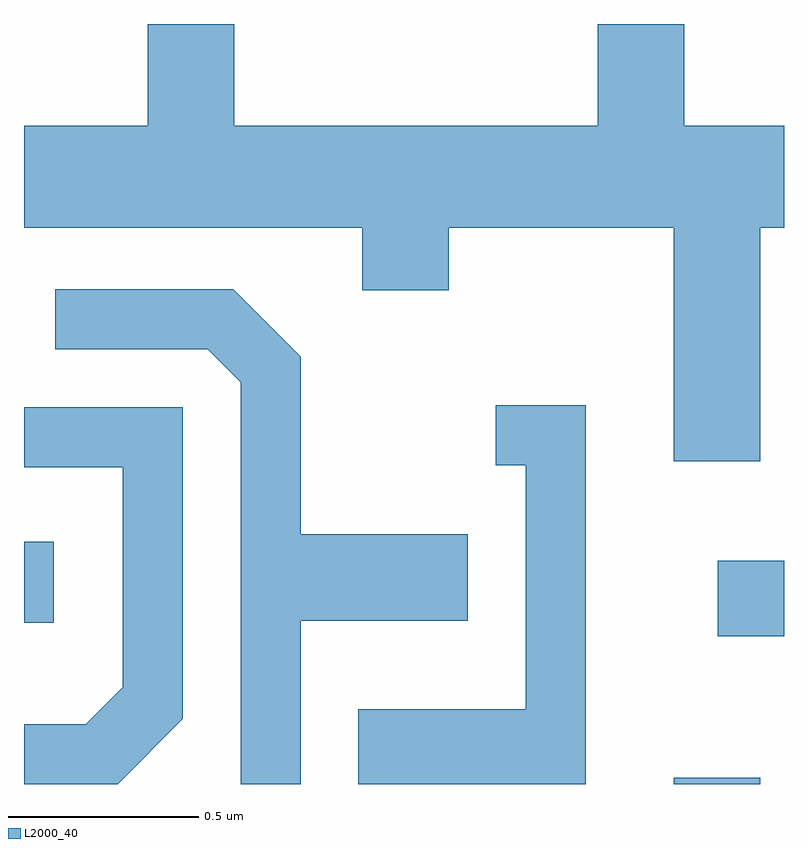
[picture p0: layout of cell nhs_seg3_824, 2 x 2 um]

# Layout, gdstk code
import gdstk
lib = gdstk.Library(unit=1e-6, precision=1e-09)
def R(c, l, rs):  # rectangles x0, y0, x1, y1
    for r in rs: c.add(gdstk.rectangle(r[:2], r[2:], *l))
def P(c, l, *ps):  # polygons
    for p in ps: c.add(gdstk.Polygon(p, *l))
L2000_40 = (2000, 40)

nhs_seg3_824 = lib.new_cell('nhs_seg3_824')
R(nhs_seg3_824, L2000_40, [(193.321,1117.892,193.549,1117.909), (193.436,1118.281,193.611,1118.479), (191.611,1118.316,191.689,1118.529)])
P(nhs_seg3_824, L2000_40, [(193.549,1119.356),(193.611,1119.356),(193.611,1119.624),(193.349,1119.624),(193.349,1119.892),(193.121,1119.892),(193.121,1119.624),(192.164,1119.624),(192.164,1119.892),(191.936,1119.892),(191.936,1119.624),(191.611,1119.624),(191.611,1119.356),(192.501,1119.356),(192.501,1119.191),(192.729,1119.191),(192.729,1119.356),(193.321,1119.356),(193.321,1118.741),(193.549,1118.741)],
  [(192.339,1118.321),(192.779,1118.321),(192.779,1118.549),(192.339,1118.549),(192.339,1119.017),(192.162,1119.194),(191.693,1119.194),(191.693,1119.036),(192.094,1119.036),(192.181,1118.949),(192.181,1117.892),(192.339,1117.892)],
  [(193.089,1118.889),(192.853,1118.889),(192.853,1118.731),(192.931,1118.731),(192.931,1118.089),(192.491,1118.089),(192.491,1117.892),(193.089,1117.892)],
  [(192.029,1118.064),(192.029,1118.884),(191.611,1118.884),(191.611,1118.726),(191.871,1118.726),(191.871,1118.147),(191.774,1118.049),(191.611,1118.049),(191.611,1117.892),(191.858,1117.892)])

lib.write_gds('nhs_seg3_824.gds')
